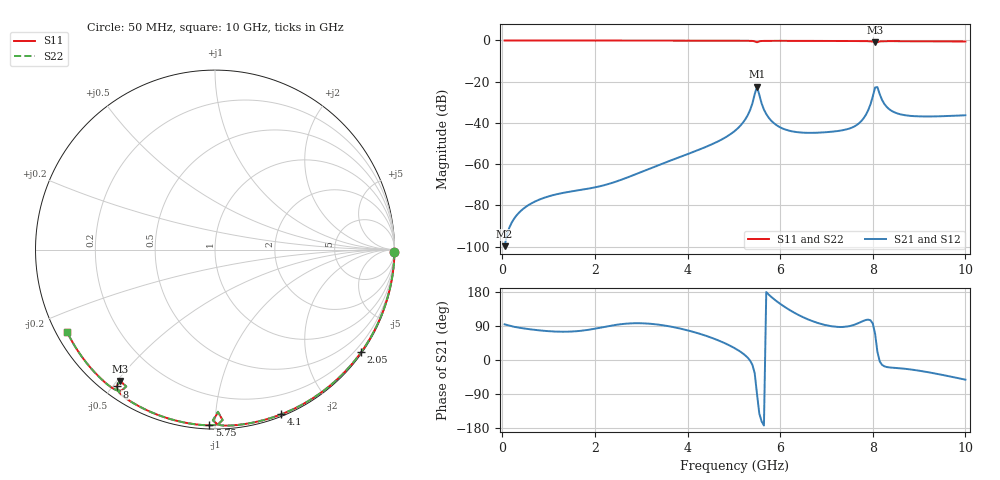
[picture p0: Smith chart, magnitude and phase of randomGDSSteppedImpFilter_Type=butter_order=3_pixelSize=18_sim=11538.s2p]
! freq	dB(S11)	phase(S11)	dB(S12)	phase(S12)
!  dB(S21)	phase(S21)	dB(S22)	phase(S22)
!S-par simulation data
#  GHz  S  DB  R 50
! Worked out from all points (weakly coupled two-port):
!   200 points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, 50 MHz to 10 GHz, reference 50 ohm
!   highest |S21| = -22.45 dB at 5.5 GHz (marker M1); lowest = -99.8 dB at 50 MHz (marker M2)
!   lowest |S11| = -0.9 dB at 8.05 GHz (marker M3), VSWR 19.40, Z = 3.25 - j25.5 ohm
!   |S11| at or under -10 dB: nowhere
!   |S22| runs from -0.9 to 0.0 dB; largest |S21 - S12| = 0
!   S11 on the Smith chart (normalised r, x): 50 MHz: open; 2.05 GHz: 0.03, -3.17; 4.1 GHz: 0.02, -1.48; 5.75 GHz: 0.02, -0.97; 8 GHz: 0.04, -0.51; 10 GHz: 0.03, -0.26
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0.05  -0.00 -0.9  -99.78 94.1  -99.78 94.1  -0.00 -0.9
0.55  -0.01 -9.6  -80.08 81.8  -80.08 81.8  -0.01 -9.6
1.75  -0.04 -30.0  -72.29 77.9  -72.29 77.9  -0.04 -30.1
2.05  -0.04 -35.1  -71.03 83.8  -71.03 83.8  -0.04 -35.1
3.4  -0.08 -57.1  -60.26 92.8  -60.26 92.8  -0.08 -57.1
4.1  -0.09 -68.1  -54.27 75.0  -54.27 75.0  -0.09 -68.1
5.05  -0.13 -82.7  -43.33 28.9  -43.33 28.9  -0.13 -82.8
5.3  -0.16 -86.9  -36.26 6.0  -36.26 6.0  -0.16 -87.0
5.5  -0.86 -88.9  -22.45 -89.7  -22.45 -89.7  -0.88 -89.0
5.6  -0.26 -88.8  -30.57 -162.0  -30.57 -162.0  -0.26 -88.8
5.75  -0.18 -91.8  -37.40 173.0  -37.40 173.0  -0.18 -91.9
6.1  -0.18 -97.3  -43.12 140.0  -43.12 140.0  -0.18 -97.3
6.7  -0.21 -105.9  -44.81 102.5  -44.81 102.5  -0.21 -106.0
7.65  -0.29 -119.5  -41.07 95.3  -41.07 95.3  -0.29 -119.5
7.85  -0.33 -122.6  -36.11 105.6  -36.11 105.6  -0.33 -122.7
8  -0.55 -125.7  -27.18 96.4  -27.18 96.4  -0.55 -125.9
8.05  -0.90 -125.8  -22.82 69.4  -22.82 69.4  -0.91 -125.9
8.1  -0.82 -122.9  -22.62 21.8  -22.62 21.8  -0.83 -122.9
8.2  -0.39 -124.8  -28.83 -12.8  -28.83 -12.8  -0.40 -124.9
8.35  -0.34 -127.7  -33.26 -19.5  -33.26 -19.5  -0.35 -127.7
8.85  -0.38 -135.0  -36.66 -25.5  -36.66 -25.5  -0.38 -135.0
10  -0.51 -150.9  -36.29 -51.9  -36.29 -51.9  -0.51 -151.0
